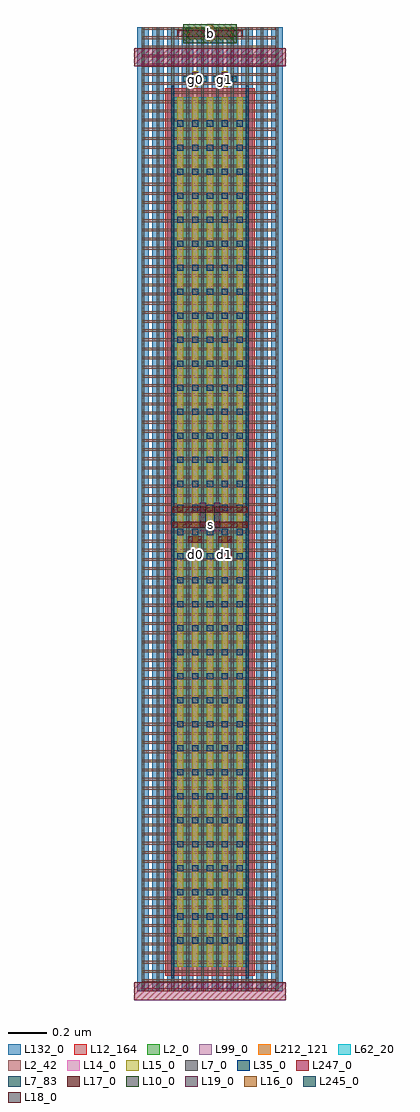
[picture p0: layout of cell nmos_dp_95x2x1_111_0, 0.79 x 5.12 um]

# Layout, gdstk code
import gdstk
lib = gdstk.Library(unit=1e-6, precision=1e-12)
def R(c, l, rs):  # rectangles x0, y0, x1, y1
    for r in rs: c.add(gdstk.rectangle(r[:2], r[2:], *l))
def A(c, l, x, y, w, h, nx, ny, dx, dy):  # array of equal rectangles
    R(c, l, [(x+i*dx, y+j*dy, x+i*dx+w, y+j*dy+h) for i in range(nx) for j in range(ny)])
L2_0 = (2, 0)
L2_42 = (2, 42)
L7_0 = (7, 0)
L7_83 = (7, 83)
L10_0 = (10, 0)
L12_164 = (12, 164)
L14_0 = (14, 0)
L15_0 = (15, 0)
L16_0 = (16, 0)
L17_0 = (17, 0)
L18_0 = (18, 0)
L19_0 = (19, 0)
L35_0 = (35, 0)
L62_20 = (62, 20)
L99_0 = (99, 0)
L132_0 = (132, 0)
L212_121 = (212, 121)
L245_0 = (245, 0)
L247_0 = (247, 0)

nmos_dp_95x2x1_111_0 = lib.new_cell('nmos_dp_95x2x1_111_0')
R(nmos_dp_95x2x1_111_0, L2_0, [(0.186,0.127,0.576,4.687), (0.2606,4.991,0.5014,5.051)])
A(nmos_dp_95x2x1_111_0, L2_42, 0.023, 0, 0.702, 0.014, 1, 106, 0, 0.048)
A(nmos_dp_95x2x1_111_0, L7_0, 0.023, 0, 0.014, 5.054, 10, 1, 0.078, 0)
R(nmos_dp_95x2x1_111_0, L7_83, [(0.179,0.067,0.193,4.747), (0.569,0.067,0.583,4.747)])
R(nmos_dp_95x2x1_111_0, L10_0, [(0.2406,4.971,0.5214,5.071)])
R(nmos_dp_95x2x1_111_0, L12_164, [(0.147,0.079,0.615,4.735)])
A(nmos_dp_95x2x1_111_0, L14_0, 0.208, 0.127, 0.034, 4.56, 5, 1, 0.078, 0)
R(nmos_dp_95x2x1_111_0, L14_0, [(0.2756,5.001,0.4864,5.041)])
A(nmos_dp_95x2x1_111_0, L15_0, 0.209, 0.127, 0.032, 4.56, 5, 1, 0.078, 0)
R(nmos_dp_95x2x1_111_0, L15_0, [(0.287,4.742,0.319,4.822), (0.443,4.742,0.475,4.822), (0.365,4.981,0.397,5.061)])
A(nmos_dp_95x2x1_111_0, L16_0, 0.209, 2.43, 0.032, 0.032, 3, 2, 0.156, 0.078)
R(nmos_dp_95x2x1_111_0, L16_0, [(0.287,2.274,0.319,2.306), (0.443,2.274,0.475,2.306), (0.287,2.352,0.319,2.384), (0.443,2.352,0.475,2.384), (0.287,4.766,0.319,4.798), (0.443,4.766,0.475,4.798), (0.365,5.005,0.397,5.037)])
R(nmos_dp_95x2x1_111_0, L17_0, [(0.267,2.274,0.339,2.306), (0.423,2.274,0.495,2.306), (0.267,2.352,0.339,2.384), (0.423,2.352,0.495,2.384), (0.186,2.43,0.576,2.462), (0.186,2.508,0.576,2.54), (0.261,4.766,0.345,4.798), (0.417,4.766,0.501,4.798), (0.209,5.005,0.553,5.037)])
R(nmos_dp_95x2x1_111_0, L18_0, [(0.326,2.43,0.358,2.462), (0.404,2.43,0.436,2.462), (0.326,2.508,0.358,2.54), (0.404,2.508,0.436,2.54), (0.287,4.766,0.319,4.798), (0.443,4.766,0.475,4.798)])
R(nmos_dp_95x2x1_111_0, L19_0, [(0.326,2.41,0.358,2.56), (0.404,2.41,0.436,2.56), (0.287,4.746,0.319,4.819), (0.443,4.746,0.475,4.819)])
A(nmos_dp_95x2x1_111_0, L35_0, 0.209, 0.249, 0.032, 0.032, 5, 35, 0.078, 0.126)
R(nmos_dp_95x2x1_111_0, L35_0, [(0.287,4.766,0.319,4.798), (0.443,4.766,0.475,4.798), (0.365,5.005,0.397,5.037)])
R(nmos_dp_95x2x1_111_0, L62_20, [(0.186,0.127,0.576,4.687)])
R(nmos_dp_95x2x1_111_0, L99_0, [(0.186,0.127,0.576,4.687), (0.2706,4.996,0.4914,5.046)])
A(nmos_dp_95x2x1_111_0, L132_0, 0, 0, 0.06, 5.054, 10, 1, 0.078, 0)
R(nmos_dp_95x2x1_111_0, L212_121, [(0.186,0.127,0.576,4.687)])
R(nmos_dp_95x2x1_111_0, L245_0, [(0.241,4.767,0.365,4.797), (0.397,4.767,0.521,4.797)])
R(nmos_dp_95x2x1_111_0, L247_0, [(-0.016,-0.047,0.778,0.047), (-0.016,4.849,0.778,4.943)])
nmos_dp_95x2x1_111_0.add(gdstk.Label('s', (0.381,2.446), layer=16, texttype=20))
nmos_dp_95x2x1_111_0.add(gdstk.Label('d1', (0.459,2.29), layer=16, texttype=20))
nmos_dp_95x2x1_111_0.add(gdstk.Label('d0', (0.303,2.29), layer=16, texttype=20))
nmos_dp_95x2x1_111_0.add(gdstk.Label('g0', (0.303,4.7825), layer=16, texttype=20))
nmos_dp_95x2x1_111_0.add(gdstk.Label('g1', (0.459,4.7825), layer=16, texttype=20))
nmos_dp_95x2x1_111_0.add(gdstk.Label('b', (0.381,5.021), layer=16, texttype=20))

lib.write_gds('nmos_dp_95x2x1_111_0.gds')
